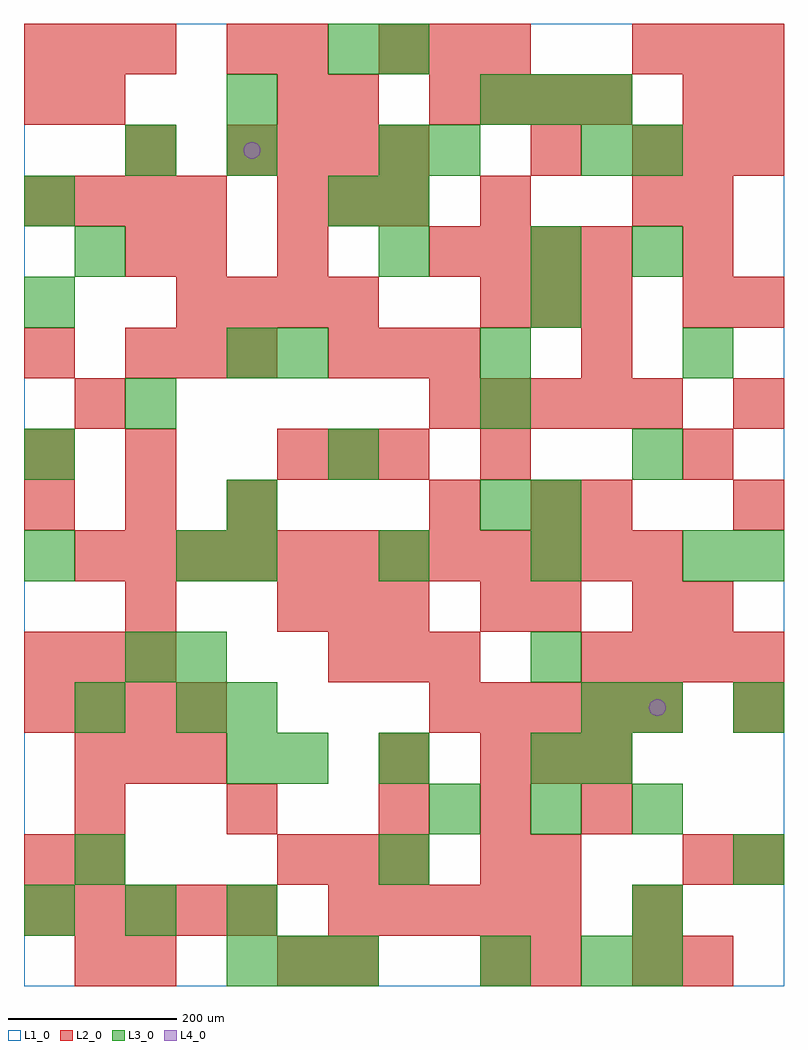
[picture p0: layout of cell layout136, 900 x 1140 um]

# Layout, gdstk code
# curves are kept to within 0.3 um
import gdstk
lib = gdstk.Library(unit=1e-6, precision=1e-09)
def R(c, l, rs):  # rectangles x0, y0, x1, y1
    for r in rs: c.add(gdstk.rectangle(r[:2], r[2:], *l))
def A(c, l, x, y, w, h, nx, ny, dx, dy):  # array of equal rectangles
    R(c, l, [(x+i*dx, y+j*dy, x+i*dx+w, y+j*dy+h) for i in range(nx) for j in range(ny)])
def P(c, l, *ps):  # polygons
    for p in ps: c.add(gdstk.Polygon(p, *l))
L1_0 = (1, 0)
L2_0 = (2, 0)
L3_0 = (3, 0)
L4_0 = (4, 0)

layout136 = lib.new_cell('layout136')
R(layout136, L1_0, [(0,0,900,1140)])
A(layout136, L2_0, 0, 60, 60, 60, 5, 1, 60, 0)
A(layout136, L2_0, 360, 60, 60, 60, 5, 1, 60, 0)
A(layout136, L2_0, 300, 120, 60, 60, 3, 2, 60, 300)
A(layout136, L2_0, 60, 180, 60, 60, 3, 1, 180, 0)
A(layout136, L2_0, 60, 240, 60, 60, 3, 1, 60, 0)
A(layout136, L2_0, 540, 240, 60, 60, 3, 2, 60, 540)
A(layout136, L2_0, 0, 300, 60, 60, 4, 2, 60, 600)
A(layout136, L2_0, 480, 300, 60, 60, 5, 2, 60, 360)
A(layout136, L2_0, 0, 360, 60, 60, 3, 2, 60, 720)
A(layout136, L2_0, 360, 360, 60, 60, 3, 2, 60, 360)
A(layout136, L2_0, 660, 360, 60, 60, 4, 1, 60, 0)
A(layout136, L2_0, 780, 420, 60, 60, 1, 3, 0, 180)
A(layout136, L2_0, 60, 480, 60, 60, 12, 1, 60, 0)
A(layout136, L2_0, 0, 540, 60, 60, 3, 1, 120, 0)
A(layout136, L2_0, 840, 540, 60, 60, 1, 3, 0, 120)
A(layout136, L2_0, 300, 600, 60, 60, 3, 2, 60, 300)
A(layout136, L2_0, 120, 720, 60, 60, 3, 1, 60, 0)
A(layout136, L2_0, 180, 780, 60, 60, 4, 1, 60, 0)
A(layout136, L2_0, 480, 840, 60, 60, 4, 2, 60, 180)
A(layout136, L2_0, 240, 960, 60, 60, 4, 1, 60, 0)
A(layout136, L2_0, 720, 960, 60, 60, 3, 2, 60, 120)
A(layout136, L2_0, 420, 1080, 60, 60, 3, 1, 60, 0)
R(layout136, L2_0, [(60,0,120,60), (120,0,180,60), (300,0,360,60), (360,0,420,60), (540,0,600,60), (600,0,660,60), (720,0,780,60), (780,0,840,60), (720,60,780,120), (0,120,60,180), (60,120,120,180), (540,120,600,180), (600,120,660,180), (780,120,840,180), (840,120,900,180), (540,180,600,240), (660,180,720,240), (420,240,480,300), (840,300,900,360), (120,420,180,480), (540,420,600,480), (600,420,660,480), (720,420,780,480), (480,540,540,600), (600,540,660,600), (660,540,720,600), (0,600,60,660), (120,600,180,660), (540,600,600,660), (60,660,120,720), (0,720,60,780), (660,720,720,780), (120,840,180,900), (180,840,240,900), (300,840,360,900), (780,840,840,900), (540,900,600,960), (720,900,780,960), (780,900,840,960), (120,960,180,1020), (600,960,660,1020), (0,1020,60,1080), (60,1020,120,1080), (300,1020,360,1080), (360,1020,420,1080), (780,1020,840,1080), (840,1020,900,1080), (240,1080,300,1140), (300,1080,360,1140)])
A(layout136, L3_0, 240, 0, 60, 60, 3, 1, 60, 0)
A(layout136, L3_0, 0, 60, 60, 60, 3, 1, 120, 0)
A(layout136, L3_0, 840, 120, 60, 60, 1, 3, 0, 180)
A(layout136, L3_0, 480, 180, 60, 60, 3, 1, 120, 0)
A(layout136, L3_0, 120, 360, 60, 60, 1, 3, 0, 300)
A(layout136, L3_0, 240, 480, 60, 60, 4, 1, 180, 0)
A(layout136, L3_0, 0, 600, 60, 60, 3, 1, 360, 0)
A(layout136, L3_0, 300, 720, 60, 60, 3, 1, 240, 0)
A(layout136, L3_0, 420, 840, 60, 60, 1, 3, 0, 60)
A(layout136, L3_0, 540, 1020, 60, 60, 3, 1, 60, 0)
R(layout136, L3_0, [(540,0,600,60), (660,0,720,60), (720,0,780,60), (720,60,780,120), (60,120,120,180), (420,120,480,180), (240,240,300,300), (300,240,360,300), (420,240,480,300), (600,240,660,300), (660,240,720,300), (60,300,120,360), (180,300,240,360), (240,300,300,360), (660,300,720,360), (720,300,780,360), (180,360,240,420), (600,360,660,420), (0,480,60,540), (180,480,240,540), (240,540,300,600), (540,540,600,600), (600,540,660,600), (540,660,600,720), (240,720,300,780), (0,780,60,840), (600,780,660,840), (60,840,120,900), (600,840,660,900), (720,840,780,900), (0,900,60,960), (360,900,420,960), (240,960,300,1020), (480,960,540,1020), (660,960,720,1020), (720,960,780,1020), (240,1020,300,1080), (360,1080,420,1140), (420,1080,480,1140)])
P(layout136, L4_0, [(280,990),(279.239,993.827),(277.071,997.071),(273.827,999.239),(270,1000),(266.173,999.239),(262.929,997.071),(260.761,993.827),(260,990),(260.761,986.173),(262.929,982.929),(266.173,980.761),(270,980),(273.827,980.761),(277.071,982.929),(279.239,986.173)],
  [(760,330),(759.239,333.827),(757.071,337.071),(753.827,339.239),(750,340),(746.173,339.239),(742.929,337.071),(740.761,333.827),(740,330),(740.761,326.173),(742.929,322.929),(746.173,320.761),(750,320),(753.827,320.761),(757.071,322.929),(759.239,326.173)])

lib.write_gds('layout136.gds')
